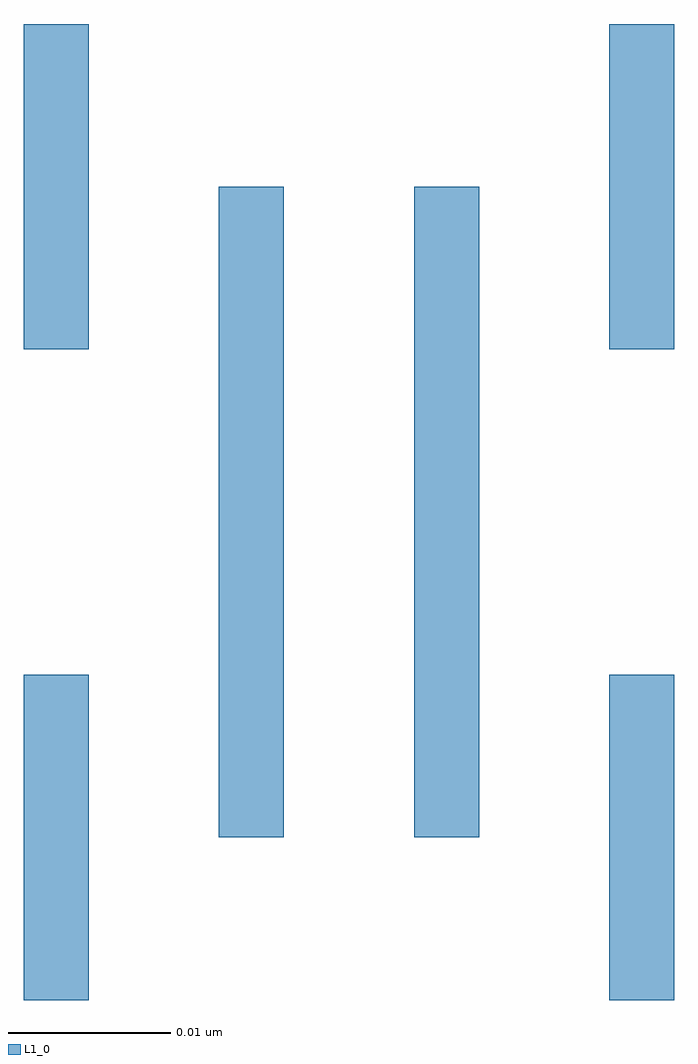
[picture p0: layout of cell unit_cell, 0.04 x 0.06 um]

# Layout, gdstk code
import gdstk
lib = gdstk.Library(unit=1e-6, precision=1e-09)
def R(c, l, rs):  # rectangles x0, y0, x1, y1
    for r in rs: c.add(gdstk.rectangle(r[:2], r[2:], *l))
L1_0 = (1, 0)

unit_cell = lib.new_cell('unit_cell')
R(unit_cell, L1_0, [(0,0,0.004,0.02), (0.036,0,0.04,0.02), (0.012,0.01,0.016,0.05), (0.024,0.01,0.028,0.05), (0,0.04,0.004,0.06), (0.036,0.04,0.04,0.06)])

lib.write_gds('unit_cell.gds')
